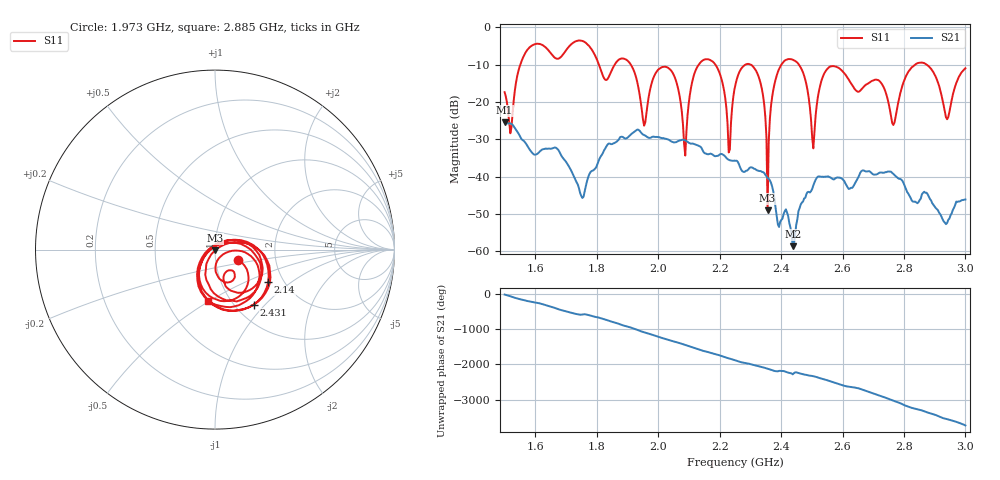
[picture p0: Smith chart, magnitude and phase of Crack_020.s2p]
# HZ S RI R 50
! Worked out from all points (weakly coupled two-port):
!   404 points, 1.5 GHz to 3 GHz, reference 50 ohm
!   highest |S21| = -25.48 dB at 1.5 GHz (marker M1); lowest = -58.6 dB at 2.438 GHz (marker M2)
!   lowest |S11| = -49.0 dB at 2.356 GHz (marker M3), VSWR 1.01, Z = 50 - j0.353 ohm
!   |S11| at or under -10 dB: 1.911 GHz to 2.132 GHz (221.2 MHz wide, 10.9 % of centre); 2.458 GHz to 2.836 GHz (378.1 MHz wide, 14.3 % of centre); 2.874 GHz to end of sweep (the widest 3 of 7)
!   S12 and S22 are empty: the file has one direction only
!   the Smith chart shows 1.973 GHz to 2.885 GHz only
!   S11 on the Smith chart (normalised r, x): 1.973 GHz: 1.29, -0.15; 2.14 GHz: 1.66, -0.69; 2.431 GHz: 1.21, -0.87; 2.885 GHz: 0.79, -0.50
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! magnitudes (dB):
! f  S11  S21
! 1.5 GHz  -17.4  -25.5
! 1.753 GHz  -3.7  -45.7
! 1.906 GHz  -9.4  -29.1
! 1.954 GHz  -26.3  -28.9
! 1.973 GHz  -17.0  -29.6
! 2.002 GHz  -11.2  -29.4
! 2.088 GHz  -34.3  -30.3
! 2.14 GHz  -9.2  -32.2
! 2.196 GHz  -11.5  -34.4
! 2.23 GHz  -33.5  -35.5
! 2.252 GHz  -15.2  -35.7
! 2.319 GHz  -11.7  -38.1
! 2.356 GHz  -49.0  -40.4
! 2.382 GHz  -14.0  -48.4
! 2.431 GHz  -8.5  -53.6
! 2.438 GHz  -8.7  -58.6
! 2.501 GHz  -29.5  -43.3
! 2.565 GHz  -10.4  -40.4
! 2.751 GHz  -20.6  -38.6
! 2.885 GHz  -10.8  -46.0
! 2.94 GHz  -24.6  -52.4
! 3 GHz  -11.0  -46.1
